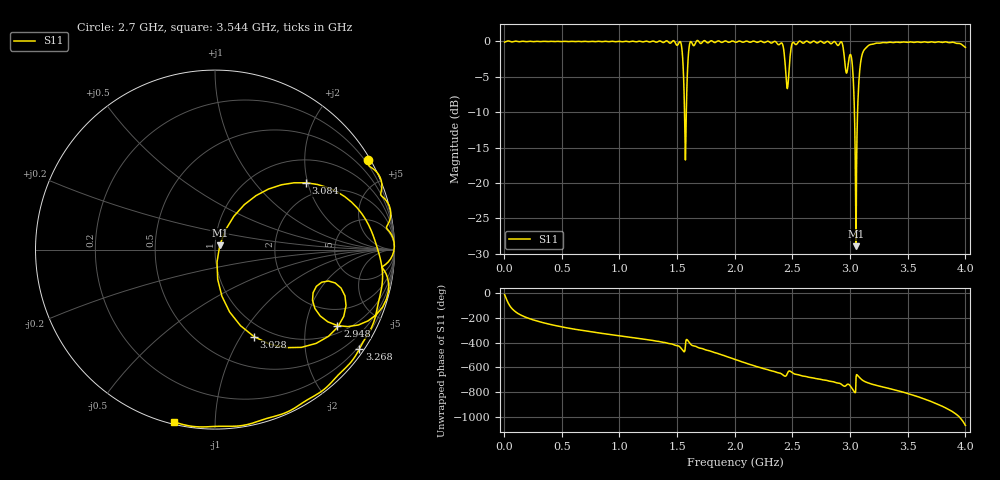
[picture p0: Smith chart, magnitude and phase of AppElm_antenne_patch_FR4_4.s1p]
! TOUCHSTONE file generated by CST MICROWAVE STUDIO
! Date and time: Tue Jun  7 20:51:54 2022
! Project name: AppElm_antenne_patch_FR4.cst
! Parameters = {L=45; W=58.5; e=0.035; h=1.6; lambda=0.190476; ls=120; w0=1.6; w1=0.533333; ws=120; y0=20; y1=21.43}
! Header version: 2018
! Port assignment regex: !\s*Touchstone port\s*([0-9]+)\s*=\s*(CST MWS port|CST DS port)\s*([0-9]+|Zmin|Zmax)\s*\(\"(.*)\"\)(\s*mode\s*([0-9]+))?.*
! Touchstone port assignment:
! Touchstone port 1 = CST MWS port 1 ("")
# GHz S MA R 50
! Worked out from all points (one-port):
!   1000 points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, 4 MHz to 4 GHz, reference 50 ohm
!   lowest |S11| = -29.0 dB at 3.052 GHz (marker M1), VSWR 1.07, Z = 52.7 + j2.51 ohm
!   |S11| at or under -10 dB: 1.564 GHz to 1.58 GHz (15.72 MHz wide, 1 % of centre); 3.038 GHz to 3.065 GHz (27.4 MHz wide, 0.898 % of centre)
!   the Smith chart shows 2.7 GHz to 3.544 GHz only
!   S11 on the Smith chart (normalised r, x): 2.7 GHz: 0.07, +3.69; 2.948 GHz: 1.27, -3.02; 3.028 GHz: 0.85, -1.14; 3.084 GHz: 1.59, +1.96; 3.268 GHz: 0.14, -3.22; 3.544 GHz: 0.01, -0.79
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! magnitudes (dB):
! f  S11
! 4 MHz  -0.1
! 504 MHz  0.0
! 1.004 GHz  0.0
! 1.504 GHz  -0.5
! 1.536 GHz  -0.4
! 1.56 GHz  -7.0
! 1.572 GHz  -16.8
! 1.604 GHz  -0.8
! 1.62 GHz  0.0
! 2.004 GHz  -0.1
! 2.4 GHz  -0.2
! 2.456 GHz  -6.7
! 2.504 GHz  -0.1
! 2.7 GHz  -0.1
! 2.92 GHz  -0.1
! 2.948 GHz  -1.9
! 3.004 GHz  -1.8
! 3.02 GHz  -3.4
! 3.028 GHz  -5.5
! 3.036 GHz  -8.9
! 3.052 GHz  -29.0
! 3.068 GHz  -8.5
! 3.084 GHz  -4.0
! 3.128 GHz  -1.1
! 3.268 GHz  -0.2
! 3.504 GHz  -0.1
! 3.544 GHz  -0.1
! 4 GHz  -0.8
